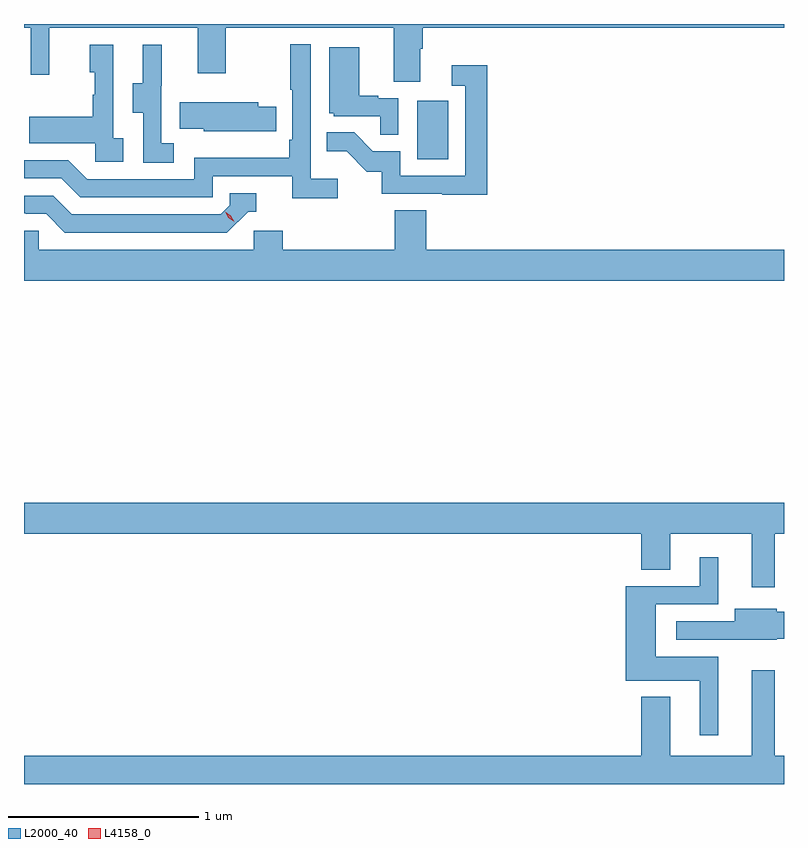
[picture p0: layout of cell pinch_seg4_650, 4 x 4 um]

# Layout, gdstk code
import gdstk
lib = gdstk.Library(unit=1e-6, precision=1e-09)
def R(c, l, rs):  # rectangles x0, y0, x1, y1
    for r in rs: c.add(gdstk.rectangle(r[:2], r[2:], *l))
def P(c, l, *ps):  # polygons
    for p in ps: c.add(gdstk.Polygon(p, *l))
L2000_40 = (2000, 40)
L4158_0 = (4158, 0)

pinch_seg4_650 = lib.new_cell('pinch_seg4_650')
R(pinch_seg4_650, L2000_40, [(1058.468,768.156,1058.632,768.463)])
P(pinch_seg4_650, L2000_40, [(1058.485,768.736),(1058.498,768.736),(1058.498,768.848),(1060.399,768.848),(1060.399,768.867),(1056.399,768.867),(1056.399,768.848),(1056.435,768.848),(1056.435,768.6),(1056.533,768.6),(1056.533,768.848),(1057.313,768.848),(1057.313,768.609),(1057.461,768.609),(1057.461,768.848),(1058.345,768.848),(1058.345,768.562),(1058.485,768.562)],
  [(1058.05,768.052),(1057.908,768.052),(1057.908,768.76),(1057.8,768.76),(1057.8,768.52),(1057.812,768.52),(1057.812,768.259),(1057.795,768.259),(1057.795,768.163),(1057.296,768.163),(1057.296,768.051),(1056.732,768.051),(1056.633,768.15),(1056.399,768.15),(1056.399,768.054),(1056.596,768.054),(1056.695,767.955),(1057.392,767.955),(1057.392,768.066),(1057.811,768.066),(1057.811,767.95),(1058.05,767.95)],
  [(1057.186,768.239),(1057.122,768.239),(1057.122,768.543),(1057.124,768.543),(1057.124,768.757),(1057.025,768.757),(1057.025,768.555),(1056.971,768.555),(1056.971,768.4),(1057.026,768.4),(1057.026,768.136),(1057.186,768.136)],
  [(1056.922,768.266),(1056.87,768.266),(1056.87,768.757),(1056.746,768.757),(1056.746,768.612),(1056.772,768.612),(1056.772,768.494),(1056.762,768.494),(1056.762,768.379),(1056.427,768.379),(1056.427,768.239),(1056.774,768.239),(1056.774,768.141),(1056.922,768.141)],
  [(1058.37,768.477),(1058.264,768.477),(1058.264,768.49),(1058.164,768.49),(1058.164,768.745),(1058.006,768.745),(1058.006,768.396),(1058.028,768.396),(1058.028,768.381),(1058.275,768.381),(1058.275,768.283),(1058.37,768.283)],
  [(1058.837,768.649),(1058.649,768.649),(1058.649,768.543),(1058.721,768.543),(1058.721,768.069),(1058.379,768.069),(1058.379,768.198),(1058.235,768.198),(1058.137,768.296),(1057.993,768.296),(1057.993,768.197),(1058.097,768.197),(1058.204,768.09),(1058.281,768.09),(1058.281,767.973),(1058.599,767.973),(1058.599,767.968),(1058.837,767.968)],
  [(1057.616,768.303),(1057.727,768.303),(1057.727,768.432),(1057.633,768.432),(1057.633,768.454),(1057.219,768.454),(1057.219,768.317),(1057.344,768.317),(1057.344,768.302),(1057.616,768.302)],
  [(1057.578,767.88),(1057.621,767.88),(1057.621,767.976),(1057.482,767.976),(1057.482,767.913),(1057.434,767.865),(1056.651,767.865),(1056.552,767.964),(1056.399,767.964),(1056.399,767.871),(1056.408,767.871),(1056.408,767.868),(1056.515,767.868),(1056.614,767.769),(1057.467,767.769)],
  [(1060.399,767.68),(1058.516,767.68),(1058.516,767.888),(1058.351,767.888),(1058.351,767.68),(1057.76,767.68),(1057.76,767.778),(1057.608,767.778),(1057.608,767.68),(1056.477,767.68),(1056.477,767.778),(1056.399,767.778),(1056.399,767.516),(1060.399,767.516)],
  [(1060.351,766.184),(1060.399,766.184),(1060.399,766.348),(1056.399,766.348),(1056.399,766.184),(1059.647,766.184),(1059.647,765.994),(1059.799,765.994),(1059.799,766.184),(1060.229,766.184),(1060.229,765.903),(1060.351,765.903)],
  [(1060.054,765.538),(1059.724,765.538),(1059.724,765.813),(1060.054,765.813),(1060.054,766.06),(1059.956,766.06),(1059.956,765.909),(1059.566,765.909),(1059.566,765.41),(1059.956,765.41),(1059.956,765.123),(1060.054,765.123)],
  [(1060.362,765.632),(1060.399,765.632),(1060.399,765.774),(1060.362,765.774),(1060.362,765.79),(1060.139,765.79),(1060.139,765.723),(1059.831,765.723),(1059.831,765.627),(1060.143,765.627),(1060.143,765.626),(1060.362,765.626)],
  [(1060.399,765.016),(1060.351,765.016),(1060.351,765.466),(1060.229,765.466),(1060.229,765.016),(1059.799,765.016),(1059.799,765.325),(1059.647,765.325),(1059.647,765.016),(1056.399,765.016),(1056.399,764.867),(1060.399,764.867)])
P(pinch_seg4_650, L4158_0, [(1057.505,767.827),(1057.474,767.846),(1057.457,767.878),(1057.457,767.878),(1057.457,767.878),(1057.488,767.859),(1057.505,767.827),(1057.505,767.827)])

lib.write_gds('pinch_seg4_650.gds')
